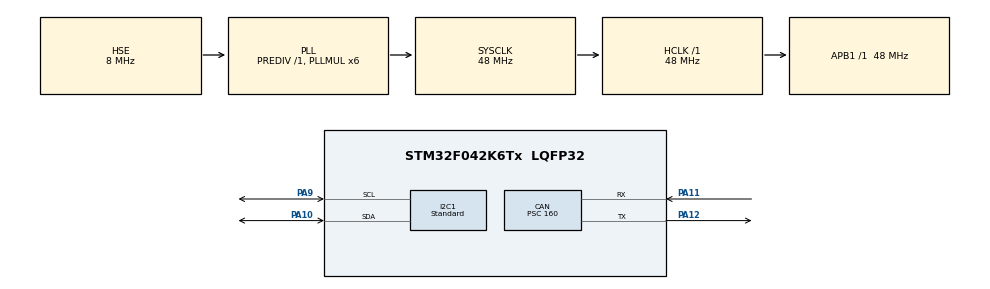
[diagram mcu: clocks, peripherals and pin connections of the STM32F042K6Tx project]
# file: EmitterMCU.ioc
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CAN.BS1=CAN_BS1_1TQ
CAN.BS2=CAN_BS2_1TQ
CAN.CalculateTimeBit=10000
CAN.CalculateTimeQuantum=3333.333333333333
CAN.Prescaler=160
CAN.SJW=CAN_SJW_4TQ
I2C1.I2C_Speed_Mode=I2C_Standard
I2C1.Timing=0x20303E5D
Mcu.Family=STM32F0
Mcu.Name=STM32F042K6Tx
Mcu.Package=LQFP32
NVIC.CEC_CAN_IRQn=true\:0\:0\:false\:false\:true
NVIC.I2C1_IRQn=true\:0\:0\:false\:false\:true
PA10.Mode=I2C
PA10.Signal=I2C1_SDA
PA11.Mode=Master
PA11.Signal=CAN_RX
PA12.Mode=Master
PA12.Signal=CAN_TX
PA9.Mode=I2C
PA9.Signal=I2C1_SCL
PF0-OSC_IN.Mode=HSE-External-Oscillator
PF0-OSC_IN.Signal=RCC_OSC_IN
PF1-OSC_OUT.Mode=HSE-External-Oscillator
PF1-OSC_OUT.Signal=RCC_OSC_OUT
ProjectManager.HeapSize=0x200
ProjectManager.StackSize=0x400
ProjectManager.TargetToolchain=MDK-ARM V5
RCC.AHBFreq_Value=48000000
RCC.APB1Freq_Value=48000000
RCC.APB1TimFreq_Value=48000000
RCC.HCLKFreq_Value=48000000
RCC.I2c1ClockSelection=RCC_I2C1CLKSOURCE_SYSCLK
RCC.PLLMUL=RCC_PLL_MUL6
RCC.PLLSourceVirtual=RCC_PLLSOURCE_HSE
RCC.SYSCLKFreq_VALUE=48000000
RCC.SYSCLKSource=RCC_SYSCLKSOURCE_PLLCLK
board=EmitterMCU

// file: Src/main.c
/**
  ******************************************************************************
  * File Name          : main.c
  * Description        : Main program body
  ******************************************************************************
  *
  * COPYRIGHT(c) 2017 STMicroelectronics
  *
  * Redistribution and use in source and binary forms, with or without modification,
  * are permitted provided that the following conditions are met:
  *   1. Redistributions of source code must retain the above copyright notice,
  *      this list of conditions and the following disclaimer.
  *   2. Redistributions in binary form must reproduce the above copyright notice,
  *      this list of conditions and the following disclaimer in the documentation
  *      and/or other materials provided with the distribution.
  *   3. Neither the name of STMicroelectronics nor the names of its contributors
  *      may be used to endorse or promote products derived from this software
  *      without specific prior written permission.
  *
  * THIS SOFTWARE IS PROVIDED BY THE COPYRIGHT HOLDERS AND CONTRIBUTORS "AS IS"
  * AND ANY EXPRESS OR IMPLIED WARRANTIES, INCLUDING, BUT NOT LIMITED TO, THE
  * IMPLIED WARRANTIES OF MERCHANTABILITY AND FITNESS FOR A PARTICULAR PURPOSE ARE
  * DISCLAIMED. IN NO EVENT SHALL THE COPYRIGHT HOLDER OR CONTRIBUTORS BE LIABLE
  * FOR ANY DIRECT, INDIRECT, INCIDENTAL, SPECIAL, EXEMPLARY, OR CONSEQUENTIAL
  * DAMAGES (INCLUDING, BUT NOT LIMITED TO, PROCUREMENT OF SUBSTITUTE GOODS OR
  * SERVICES; LOSS OF USE, DATA, OR PROFITS; OR BUSINESS INTERRUPTION) HOWEVER
  * CAUSED AND ON ANY THEORY OF LIABILITY, WHETHER IN CONTRACT, STRICT LIABILITY,
  * OR TORT (INCLUDING NEGLIGENCE OR OTHERWISE) ARISING IN ANY WAY OUT OF THE USE
  * OF THIS SOFTWARE, EVEN IF ADVISED OF THE POSSIBILITY OF SUCH DAMAGE.
  *
  ******************************************************************************
  */
#include "main.h"
#include "stm32f0xx_hal.h"
#include "stm32f0xx_hal_iwdg.h"

/* USER CODE BEGIN Includes */
#include <string.h>
#include <stdbool.h>
#include <math.h>
/* USER CODE END Includes */

/* USER CODE BEGIN PV */
/* Private variables ---------------------------------------------------------*/
CAN_HandleTypeDef hcan;
I2C_HandleTypeDef hi2c1;
IWDG_HandleTypeDef hiwdg;

// CAN messages
extern CanTxMsgTypeDef        TxMessage;
extern CanRxMsgTypeDef        RxMessage;
uint8_t												can_device_id = 0x01;
uint32_t											can_slot_filter = 0 << 15;
uint32_t											can_slot_mask = 1 << 15;

typedef struct UUID_struct
{
	uint16_t X;
	uint16_t Y;
	uint8_t WAF_NUM;
	char LOT_NUM[7];
} UUID;

#define STM32_UUID ((uint32_t *)0x1FFFF7AC)

// Main Laser Pulse Counter
volatile static uint32_t LaserPulseCounter = 0;
volatile static uint32_t newLaserPulseCounter = 0;

// Temperature
volatile float temperature;

/* USER CODE END PV */

void SystemClock_Config(void);
void Error_Handler(void);
static void MX_GPIO_Init(void);
static void MX_CAN_Init(void);
static void MX_I2C1_Init(void);
static void MX_IWDG_Init(void);

/* USER CODE BEGIN PFP */
/* Private function prototypes -----------------------------------------------*/

/* USER CODE END PFP */

/* USER CODE BEGIN 0 */
float Lerp(float X1, float X2, float Y1, float Y2, float x)
{
	float Y = Y1;
	if ((X2 - X1) > 0.0001f)
	{
		Y = ((Y2 - Y1) / (X2 - X1)) * (x - X1) + Y1;
	}
	return Y;
}

void rx_led_on()
{
	HAL_GPIO_WritePin(GPIOB, GPIO_PIN_3, GPIO_PIN_SET);
}

void rx_led_off()
{
	HAL_GPIO_WritePin(GPIOB, GPIO_PIN_3, GPIO_PIN_RESET);
}

void tx_led_on()
{
	HAL_GPIO_WritePin(GPIOB, GPIO_PIN_4, GPIO_PIN_SET);
}

void tx_led_off()
{
	HAL_GPIO_WritePin(GPIOB, GPIO_PIN_4, GPIO_PIN_RESET);
}

void LoadCounterFromEEPROM()
{
	HAL_I2C_Mem_Read(&hi2c1, LASER_EEPROM_I2C_ADDRESS << 1, LASER_CNT_MEM_ADDRESS, sizeof(uint16_t), (uint8_t*)&LaserPulseCounter, sizeof(uint32_t), 10);
	newLaserPulseCounter = LaserPulseCounter;
}

void StoreCounterToEEPROM()
{
	HAL_I2C_Mem_Write(&hi2c1, LASER_EEPROM_I2C_ADDRESS << 1, LASER_CNT_MEM_ADDRESS, sizeof(uint16_t), (uint8_t*)&LaserPulseCounter, sizeof(uint32_t), 10);
	HAL_Delay(10);
}

bool TestCounter(uint32_t counter)
{
	uint32_t counter_cmp;
	HAL_I2C_Mem_Write(&hi2c1, LASER_EEPROM_I2C_ADDRESS << 1, LASER_CNT_MEM_ADDRESS, sizeof(uint16_t), (uint8_t*)&counter, sizeof(uint32_t), 10);
	HAL_Delay(10);
	HAL_I2C_Mem_Read(&hi2c1, LASER_EEPROM_I2C_ADDRESS << 1, LASER_CNT_MEM_ADDRESS, sizeof(uint16_t), (uint8_t*)&counter_cmp, sizeof(uint32_t), 10);
	return counter == counter_cmp;
}

void TestEEPROM()
{
	uint32_t counter = 0;
	for( counter = 0; counter < 100000; counter++)
	{
		if (!TestCounter(counter))
		{
			rx_led_on();
			tx_led_on();
			__breakpoint(0);
			HAL_Delay(1000);
			rx_led_off();
			tx_led_off();
		}
		else
		{
			rx_led_on();
			tx_led_on();
			HAL_Delay(1);
			rx_led_off();
			tx_led_off();
			HAL_Delay(10);
		}
	}
}

void InitTemperatureSensor()
{
	uint8_t data[4];
	// Write to configuration register (continous convertion)
	data[0] = 0x0E;
	HAL_I2C_Mem_Write(&hi2c1, LASER_TEMPSEN_I2C_ADDRESS, 0xAC, 1, data, sizeof(uint8_t), 10);
	// Write +40 degrees to TH
	data[0] = 0x28; data[1] = 0x00;
	HAL_I2C_Mem_Write(&hi2c1, LASER_TEMPSEN_I2C_ADDRESS, 0xA1, 1, data, sizeof(uint16_t), 10);
	// Write +10 degrees to TL
	data[0] = 0x0A; data[1] = 0x00;
	HAL_I2C_Mem_Write(&hi2c1, LASER_TEMPSEN_I2C_ADDRESS, 0xA2, 1, data, sizeof(uint16_t), 10);
	// Start convertion
	data[0] = 0x51;
	HAL_I2C_Master_Transmit(&hi2c1, LASER_TEMPSEN_I2C_ADDRESS, data, 1, 10);
}

void ReadTemperatureData()
{
	uint8_t data[4];
	HAL_I2C_Mem_Read(&hi2c1, 0x92, 0xAA, 1, data, 2, 10);
	temperature = (float)data[0] + (float)(data[1] >> 4) / 16.0f;
	HAL_Delay(50);
}
/* USER CODE END 0 */

int main(void)
{

  /* MCU Configuration----------------------------------------------------------*/

  /* Reset of all peripherals, Initializes the Flash interface and the Systick. */
  HAL_Init();

  /* Configure the system clock */
  SystemClock_Config();
	SystemCoreClockUpdate();

  /* Initialize all configured peripherals */
  MX_GPIO_Init();
  MX_CAN_Init();
  MX_I2C1_Init();
	MX_IWDG_Init();

  /* USER CODE BEGIN 2 */
	// Load Laser Pulse Counter
	//TestEEPROM();
	LoadCounterFromEEPROM();

	//newLaserPulseCounter = 50000;
	//LaserPulseCounter = newLaserPulseCounter;
	//StoreCounterToEEPROM();

	// Normal start "Blink"
	rx_led_on();
	tx_led_on();
	HAL_Delay(10);
	rx_led_off();
	tx_led_off();

	// Start CAN receiving messages
	HAL_CAN_Receive_IT(&hcan, CAN_FIFO0);

	// Test temperature sensor
	//InitTemperatureSensor();
  /* USER CODE END 2 */

  /* Infinite loop */
  while (1)
  {
  /* USER CODE BEGIN 3 */
		//ReadTemperatureData();
		static uint8_t cnt = 0;

		if (((++cnt) % 100) == 0)
			HAL_IWDG_Refresh(&hiwdg);

		if (LaserPulseCounter != newLaserPulseCounter)
		{
			LaserPulseCounter = newLaserPulseCounter;
			StoreCounterToEEPROM();
		}

		HAL_Delay(1);
  }
  /* USER CODE END 3 */

}

/** System Clock Configuration
*/
void SystemClock_Config(void)
{

  RCC_OscInitTypeDef RCC_OscInitStruct;
  RCC_ClkInitTypeDef RCC_ClkInitStruct;
  RCC_PeriphCLKInitTypeDef PeriphClkInit;

    /**Initializes the CPU, AHB and APB busses clocks
    */
  RCC_OscInitStruct.OscillatorType = RCC_OSCILLATORTYPE_HSE | RCC_OSCILLATORTYPE_LSI;
  RCC_OscInitStruct.HSEState = RCC_HSE_ON;
  RCC_OscInitStruct.HSIState = RCC_HSI_ON;
  RCC_OscInitStruct.PLL.PLLState = RCC_PLL_ON;
  RCC_OscInitStruct.PLL.PLLSource = RCC_PLLSOURCE_HSE;
  RCC_OscInitStruct.PLL.PLLMUL = RCC_PLL_MUL6;
  RCC_OscInitStruct.PLL.PREDIV = RCC_PREDIV_DIV1;
  if (HAL_RCC_OscConfig(&RCC_OscInitStruct) != HAL_OK)
  {
    Error_Handler();
  }

    /**Initializes the CPU, AHB and APB busses clocks
    */
  RCC_ClkInitStruct.ClockType = RCC_CLOCKTYPE_HCLK|RCC_CLOCKTYPE_SYSCLK
                              |RCC_CLOCKTYPE_PCLK1;
  RCC_ClkInitStruct.SYSCLKSource = RCC_SYSCLKSOURCE_PLLCLK;
  RCC_ClkInitStruct.AHBCLKDivider = RCC_SYSCLK_DIV1;
  RCC_ClkInitStruct.APB1CLKDivider = RCC_HCLK_DIV1;

  if (HAL_RCC_ClockConfig(&RCC_ClkInitStruct, FLASH_LATENCY_1) != HAL_OK)
  {
    Error_Handler();
  }

  PeriphClkInit.PeriphClockSelection = RCC_PERIPHCLK_I2C1;
  PeriphClkInit.I2c1ClockSelection = RCC_I2C1CLKSOURCE_SYSCLK;
  if (HAL_RCCEx_PeriphCLKConfig(&PeriphClkInit) != HAL_OK)
  {
    Error_Handler();
  }

    /**Configure the Systick interrupt time
    */
  HAL_SYSTICK_Config(HAL_RCC_GetHCLKFreq()/1000);

    /**Configure the Systick
    */
  HAL_SYSTICK_CLKSourceConfig(SYSTICK_CLKSOURCE_HCLK);

  /* SysTick_IRQn interrupt configuration */
  HAL_NVIC_SetPriority(SysTick_IRQn, 0, 0);
}

/* CAN init function */
static void MX_CAN_Init(void)
{

  hcan.Instance = CAN;
  hcan.Init.Prescaler = 120;
  hcan.Init.Mode = CAN_MODE_NORMAL;
  hcan.Init.SJW = CAN_SJW_1TQ;
  hcan.Init.BS1 = CAN_BS1_13TQ;
  hcan.Init.BS2 = CAN_BS2_2TQ;
  hcan.Init.TTCM = DISABLE;
  hcan.Init.ABOM = DISABLE;
  hcan.Init.AWUM = DISABLE;
  hcan.Init.NART = ENABLE;
  hcan.Init.RFLM = DISABLE;
  hcan.Init.TXFP = DISABLE;
  if (HAL_CAN_Init(&hcan) != HAL_OK)
  {
    Error_Handler();
  }
}

/* I2C1 init function */
static void MX_I2C1_Init(void)
{

  hi2c1.Instance = I2C1;
  hi2c1.Init.Timing = 0x20303E5D;
  hi2c1.Init.OwnAddress1 = 0;
  hi2c1.Init.AddressingMode = I2C_ADDRESSINGMODE_7BIT;
  hi2c1.Init.DualAddressMode = I2C_DUALADDRESS_DISABLE;
  hi2c1.Init.OwnAddress2 = 0;
  hi2c1.Init.OwnAddress2Masks = I2C_OA2_NOMASK;
  hi2c1.Init.GeneralCallMode = I2C_GENERALCALL_DISABLE;
  hi2c1.Init.NoStretchMode = I2C_NOSTRETCH_DISABLE;
  if (HAL_I2C_Init(&hi2c1) != HAL_OK)
  {
    Error_Handler();
  }

    /**Configure Analogue filter
    */
  if (HAL_I2CEx_ConfigAnalogFilter(&hi2c1, I2C_ANALOGFILTER_ENABLE) != HAL_OK)
  {
    Error_Handler();
  }

    /**Configure Digital filter
    */
  if (HAL_I2CEx_ConfigDigitalFilter(&hi2c1, 0) != HAL_OK)
  {
    Error_Handler();
  }
}

/* IWDG init function */
static void MX_IWDG_Init(void)
{
  hiwdg.Instance = IWDG;
  hiwdg.Init.Prescaler = IWDG_PRESCALER_4;
  hiwdg.Init.Window = 2000;
  hiwdg.Init.Reload = 2000;
  if (HAL_IWDG_Init(&hiwdg) != HAL_OK)
  {
    Error_Handler();
  }

}

/** Configure pins as
        * Analog
        * Input
        * Output
        * EVENT_OUT
        * EXTI
*/
static void MX_GPIO_Init(void)
{

  /* GPIO Ports Clock Enable */
  __HAL_RCC_GPIOF_CLK_ENABLE();
  __HAL_RCC_GPIOA_CLK_ENABLE();

}

/* -------------------------  send buffer algorithm -------------------- */
static uint8_t* rx_ptr = 0;
static uint16_t rx_cnt = 0;
static uint16_t rx_len = 0;

void HAL_CAN_SendBuffer(uint8_t* buffer)
{
	memcpy((void*)TxMessage.Data, (void*)&buffer, 8);
	HAL_CAN_Transmit_IT(&hcan);
	rx_ptr = (uint8_t*)((int)&buffer + 8);
	rx_cnt = 8;
}

void HAL_CAN_TxCpltCallback(CAN_HandleTypeDef *CanHandle)
{
	int len = rx_len - rx_cnt;
	if (len < 8)
	{
		memcpy((void*)TxMessage.Data, (void*)rx_ptr, len);
		HAL_CAN_Transmit_IT(&hcan);
		rx_ptr += len;
		rx_cnt += len;
	}
	else
	{
		memcpy((void*)TxMessage.Data, (void*)rx_ptr, 8);
		HAL_CAN_Transmit_IT(&hcan);
		rx_ptr += 8;
		rx_cnt += 8;
	}
}
/* -------------------------  send buffer algorithm -------------------- */

/* USER CODE BEGIN 4 */
void HAL_CAN_RxCpltCallback(CAN_HandleTypeDef *CanHandle)
{
	uint32_t counter = 0;
  if (CanHandle->pRxMsg->IDE == CAN_ID_EXT)
  {
		// EMMITER
		if ((CanHandle->pRxMsg->ExtId & CAN_RECEIVER_DEVICE_ID_GROUP_mask) == 0)
		{
			if ((CanHandle->pRxMsg->ExtId & CAN_MESSAGE_TYPE_CMD_mask) == 0)
			{
				// Read from register
				if ((CanHandle->pRxMsg->ExtId & CAN_MESSAGE_TYPE_RW_mask) == 0)
				{
					switch ((uint8_t)(CanHandle->pRxMsg->ExtId & CAN_MESSAGE_TYPE_REGISTERID_mask))
					{
						case CAN_MESSAGE_TYPE_REGISTER_ID:
							TxMessage.Data[0] = can_device_id;
							TxMessage.DLC = 1;
							break;
						case CAN_MESSAGE_TYPE_REGISTER_UID1:
							memcpy((void*)TxMessage.Data, (void*)&STM32_UUID[0], 4);
							TxMessage.DLC = 4;
							break;
						case CAN_MESSAGE_TYPE_REGISTER_UID2:
							memcpy((void*)TxMessage.Data, (void*)&STM32_UUID[1], 4);
							TxMessage.DLC = 4;
							break;
						case CAN_MESSAGE_TYPE_REGISTER_UID3:
							memcpy((void*)TxMessage.Data, (void*)&STM32_UUID[2], 4);
							TxMessage.DLC = 4;
							break;
						case CAN_MESSAGE_TYPE_REGISTER_CNT:
							memcpy((void*)TxMessage.Data, (void*)&LaserPulseCounter, 4);
							TxMessage.DLC = 4;
							break;
						case CAN_MESSAGE_TYPE_REGISTER_TEMPERATURE:
							memcpy((void*)TxMessage.Data, (void*)&temperature, 4);
							TxMessage.DLC = 4;
							break;
						case CAN_MESSAGE_TYPE_REGISTER_FLOW:
							// Not support
							break;
						case CAN_MESSAGE_TYPE_REGISTER_LED:
							// Not support
							break;
						case CAN_MESSAGE_TYPE_REGISTER_SWITCH:
							// Not support
							break;
					}
					HAL_CAN_Transmit_IT(&hcan);
				}
				// Write to register
				else
				{
					switch ((uint8_t)(CanHandle->pRxMsg->ExtId & CAN_MESSAGE_TYPE_REGISTERID_mask))
					{
						case CAN_MESSAGE_TYPE_REGISTER_ID:
							// Read only
							break;
						case CAN_MESSAGE_TYPE_REGISTER_CNT:
							memcpy((void*)&newLaserPulseCounter, (void*)RxMessage.Data, 4);
							break;
						case CAN_MESSAGE_TYPE_REGISTER_TEMPERATURE:
							// Read only
							break;
						case CAN_MESSAGE_TYPE_REGISTER_FLOW:
							// Not support
							break;
						case CAN_MESSAGE_TYPE_REGISTER_LED:
							// Not support
							break;
						case CAN_MESSAGE_TYPE_REGISTER_SWITCH:
							// Not support
							break;
					}
				}
			}
			else
			{
				// Perform commands
				switch ((uint8_t)(CanHandle->pRxMsg->ExtId & CAN_MESSAGE_TYPE_COMMANDID_mask))
				{
					case CAN_MESSAGE_TYPE_CMD_RESETCNT:
						LaserPulseCounter = 0;
						StoreCounterToEEPROM();
						break;
					case CAN_MESSAGE_TYPE_CMD_TAU:
						// Not support
						break;
					case CAN_MESSAGE_TYPE_CMD_ENERGY:
						// Not support
						break;
					case CAN_MESSAGE_TYPE_CMD_REQUESTID:
						// Not support
						break;
				}
			}
		}

		// PORT
		if ((CanHandle->pRxMsg->ExtId & CAN_RECEIVER_DEVICE_ID_PORT_mask) != 0)
		{
			if ((CanHandle->pRxMsg->Data[1] & 0x01) != 0)
				rx_led_on();
			else
				rx_led_off();

			if ((CanHandle->pRxMsg->Data[1] & 0x02) != 0)
				tx_led_on();
			else
				tx_led_off();
		}
  }

  /* Receive */
  if (HAL_CAN_Receive_IT(CanHandle, CAN_FIFO0) != HAL_OK)
  {
    /* Reception Error */
    //Error_Handler();
  }
}

/* USER CODE END 4 */

void Error_Handler(void)
{
  /* USER CODE BEGIN Error_Handler */
  /* User can add his own implementation to report the HAL error return state */
  while(1)
  {
		HAL_GPIO_WritePin(GPIOB, GPIO_PIN_5 | GPIO_PIN_6, GPIO_PIN_SET);
		HAL_Delay(1000);
		HAL_GPIO_WritePin(GPIOB, GPIO_PIN_5 | GPIO_PIN_6, GPIO_PIN_RESET);
		HAL_Delay(1000);
  }
  /* USER CODE END Error_Handler */
}

/************************ (C) COPYRIGHT STMicroelectronics *****END OF FILE****/
